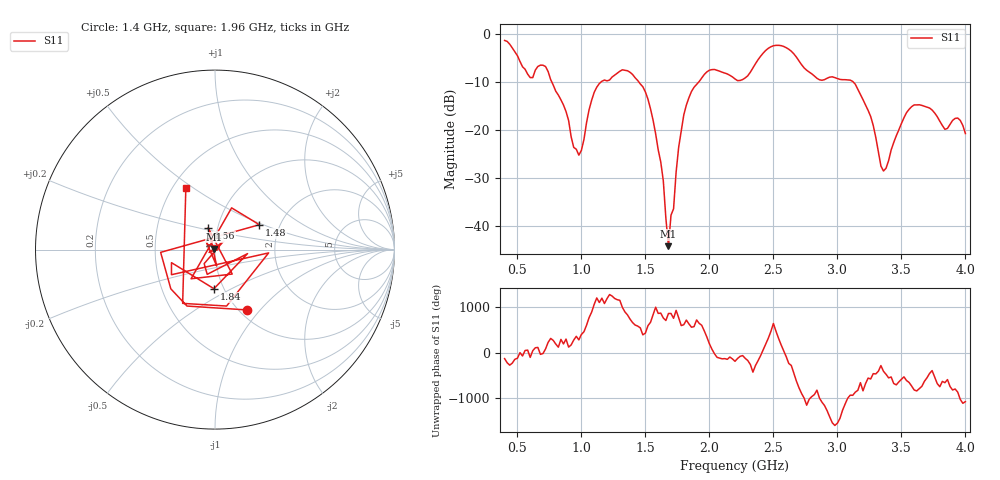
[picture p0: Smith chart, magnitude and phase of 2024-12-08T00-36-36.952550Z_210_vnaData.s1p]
!Created with skrf (http://scikit-rf.org).
# Hz S RI R 50.0
!freq ReS11 ImS11
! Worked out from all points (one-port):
!   181 points, 400 MHz to 4 GHz, reference 50 ohm
!   lowest |S11| = -44.2 dB at 1.68 GHz (marker M1), VSWR 1.01, Z = 49.5 + j0.414 ohm
!   |S11| at or under -10 dB: 769.4 MHz to 1.152 GHz (382.5 MHz wide, 39.8 % of centre); 1.45 GHz to 1.916 GHz (465.9 MHz wide, 27.7 % of centre); 3.125 GHz to end of sweep
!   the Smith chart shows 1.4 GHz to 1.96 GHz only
!   S11 on the Smith chart (normalised r, x): 1.4 GHz: 1.08, -0.85; 1.48 GHz: 1.57, +0.47; 1.56 GHz: 0.90, +0.22; 1.84 GHz: 0.90, -0.41; 1.96 GHz: 0.58, +0.47
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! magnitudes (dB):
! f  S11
! 400 MHz  -1.3
! 600 MHz  -9.0
! 720 MHz  -6.7
! 860 MHz  -14.8
! 980 MHz  -25.2
! 1.1 GHz  -12.1
! 1.3 GHz  -7.7
! 1.4 GHz  -8.4
! 1.48 GHz  -11.0
! 1.56 GHz  -17.9
! 1.64 GHz  -30.6
! 1.68 GHz  -44.2
! 1.72 GHz  -36.4
! 1.76 GHz  -23.5
! 1.84 GHz  -13.2
! 1.96 GHz  -8.4
! 2.2 GHz  -9.3
! 2.48 GHz  -2.6
! 2.66 GHz  -4.1
! 2.86 GHz  -9.5
! 3.1 GHz  -9.6
! 3.26 GHz  -17.1
! 3.36 GHz  -28.5
! 3.56 GHz  -15.7
! 3.72 GHz  -15.4
! 3.84 GHz  -19.8
! 3.94 GHz  -17.5
! 4 GHz  -20.7
